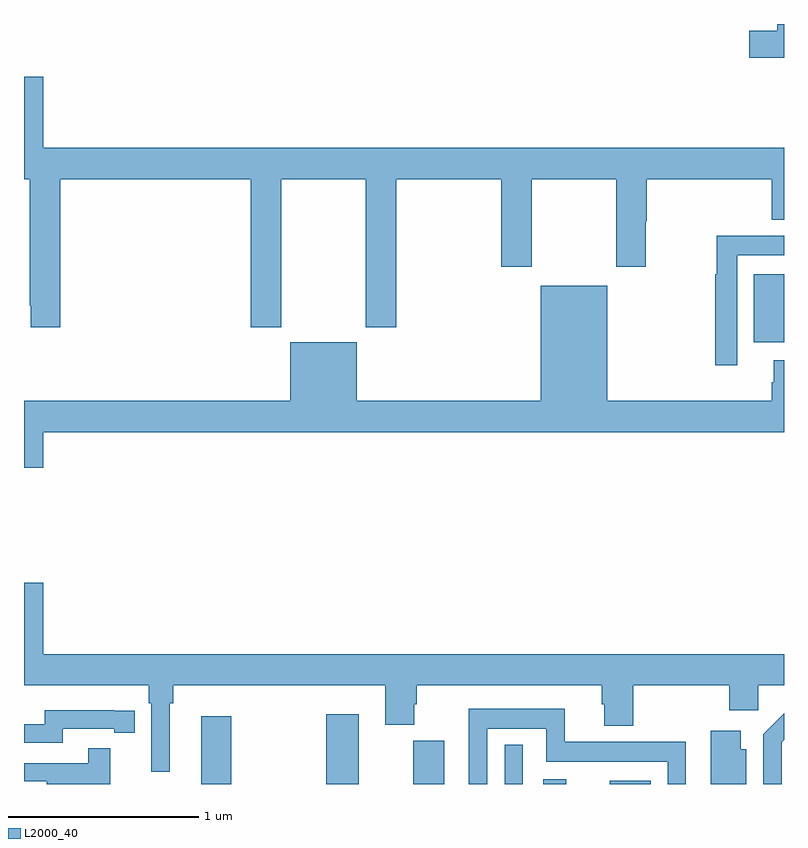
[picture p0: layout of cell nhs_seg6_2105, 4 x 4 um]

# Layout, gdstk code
import gdstk
lib = gdstk.Library(unit=1e-6, precision=1e-09)
def R(c, l, rs):  # rectangles x0, y0, x1, y1
    for r in rs: c.add(gdstk.rectangle(r[:2], r[2:], *l))
def P(c, l, *ps):  # polygons
    for p in ps: c.add(gdstk.Polygon(p, *l))
L2000_40 = (2000, 40)

nhs_seg6_2105 = lib.new_cell('nhs_seg6_2105')
R(nhs_seg6_2105, L2000_40, [(237.932,929.5,238.091,929.857), (238.592,929.5,238.762,929.866), (239.048,929.5,239.212,929.727), (239.529,929.5,239.625,929.707), (239.732,929.5,239.854,929.524), (240.083,929.5,240.298,929.518), (240.842,931.824,241,932.182)])
P(nhs_seg6_2105, L2000_40, [(241,933.5),(240.965,933.5),(240.965,933.464),(240.816,933.464),(240.816,933.322),(241,933.322)],
  [(237.191,932.684),(238.193,932.684),(238.193,931.905),(238.353,931.905),(238.353,932.684),(238.798,932.684),(238.798,931.905),(238.958,931.905),(238.958,932.684),(239.513,932.684),(239.513,932.223),(239.673,932.223),(239.673,932.684),(240.118,932.684),(240.118,932.223),(240.273,932.223),(240.273,932.462),(240.278,932.462),(240.278,932.684),(240.935,932.684),(240.935,932.471),(241,932.471),(241,932.848),(237.1,932.848),(237.1,933.223),(237,933.223),(237,932.684),(237.031,932.684),(237.031,932.017),(237.035,932.017),(237.035,931.905),(237.191,931.905)],
  [(240.753,932.282),(241,932.282),(241,932.386),(240.645,932.386),(240.645,932.182),(240.637,932.182),(240.637,931.704),(240.753,931.704)],
  [(237.1,931.352),(241,931.352),(241,931.729),(240.947,931.729),(240.947,931.614),(240.935,931.614),(240.935,931.516),(240.07,931.516),(240.07,932.122),(239.72,932.122),(239.72,931.516),(238.75,931.516),(238.75,931.825),(238.4,931.825),(238.4,931.516),(237,931.516),(237,931.164),(237.1,931.164)],
  [(237.766,929.924),(237.785,929.924),(237.785,930.02),(238.901,930.02),(238.901,929.812),(239.053,929.812),(239.053,929.921),(239.066,929.921),(239.066,930.02),(240.041,930.02),(240.041,929.919),(240.053,929.919),(240.053,929.807),(240.206,929.807),(240.206,930.02),(240.713,930.02),(240.713,929.889),(240.864,929.889),(240.864,930.02),(241,930.02),(241,930.184),(237.1,930.184),(237.1,930.559),(237,930.559),(237,930.02),(237.656,930.02),(237.656,929.924),(237.669,929.924),(237.669,929.565),(237.766,929.565)],
  [(239.439,929.792),(239.748,929.792),(239.748,929.618),(240.387,929.618),(240.387,929.5),(240.484,929.5),(240.484,929.722),(239.846,929.722),(239.846,929.896),(239.342,929.896),(239.342,929.5),(239.439,929.5)],
  [(237.204,929.79),(237.476,929.79),(237.476,929.77),(237.584,929.77),(237.584,929.886),(237.476,929.886),(237.476,929.887),(237.108,929.887),(237.108,929.814),(237,929.814),(237,929.718),(237.204,929.718)],
  [(240.987,929.721),(241,929.734),(241,929.872),(240.891,929.763),(240.891,929.5),(240.987,929.5)],
  [(240.802,929.683),(240.772,929.683),(240.772,929.779),(240.614,929.779),(240.614,929.5),(240.802,929.5)],
  [(237.455,929.689),(237.337,929.689),(237.337,929.61),(237,929.61),(237,929.514),(237.121,929.514),(237.121,929.5),(237.455,929.5)])

lib.write_gds('nhs_seg6_2105.gds')
